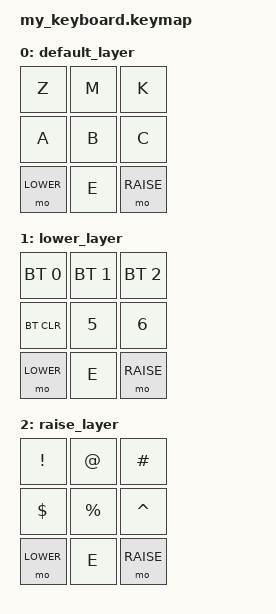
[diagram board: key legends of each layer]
#include <behaviors.dtsi>
#include <dt-bindings/zmk/keys.h>
#include <dt-bindings/zmk/bt.h>

#define DEFAULT 0
#define LOWER   1
#define RAISE   2

/ {
    keymap {
        compatible = "zmk,keymap";

        default_layer { // Layer 0
            // -------------------------------------
            // |     Z     |     M     |     K     |
            // |     A     |     B     |     C     |
            // |   Lower   |     E     |   Raise   |
            bindings = <
                &kp Z          &kp M     &kp K
                &kp A          &kp B     &kp C
                &mo LOWER      &kp E     &mo RAISE
            >;
        };
        lower_layer { // Layer 1
            // -------------------------------------
            // | BT_SEL 0  | BT_SEL 1  | BT_SEL 2  |
            // |  BT_CLR   |     5     |     6     |
            // |   Lower   |     E     |   Raise   |
            bindings = <
                &bt BT_SEL 0  &bt BT_SEL 1  &bt BT_SEL 2
                &bt BT_CLR    &kp 5         &kp 6
                &mo LOWER     &kp E         &mo RAISE
            >;
        };  
        raise_layer { // Layer 2
            // -------------------------------------
            // |     !     |     @     |     #     |
            // |     $     |     %     |     ^     |
            // |   Lower   |     E     |   Raise   |
            bindings = <
                &kp EXCL      &kp AT      &kp HASH
                &kp DLLR      &kp PRCNT   &kp CARET
                &mo LOWER     &kp E       &mo RAISE
            >;
        };
    };
};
